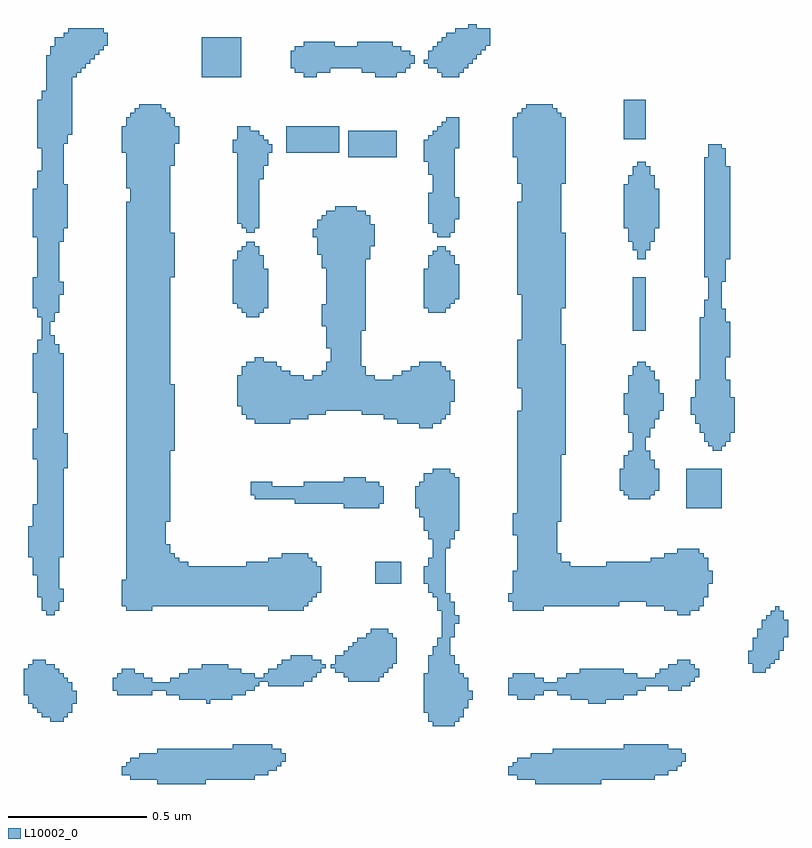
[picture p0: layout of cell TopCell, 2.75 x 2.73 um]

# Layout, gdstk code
import gdstk
lib = gdstk.Library(unit=1e-6, precision=1e-09)
def R(c, l, rs):  # rectangles x0, y0, x1, y1
    for r in rs: c.add(gdstk.rectangle(r[:2], r[2:], *l))
L10002_0 = (10002, 0)

topcell = lib.new_cell('TopCell')
R(topcell, L10002_0, [(1.2,0.448,1.375,0.575), (2.56,0.448,2.799,0.559), (1.104,0.464,1.2,0.543), (1.375,0.464,1.551,0.575), (2.496,0.464,2.56,0.543), (2.799,0.464,2.991,0.575), (1.072,0.48,1.104,0.511), (1.551,0.48,1.599,0.591), (2.464,0.48,2.496,0.511), (2.991,0.48,3.039,0.591), (1.599,0.496,1.615,0.591), (1.615,0.496,1.631,0.575), (3.039,0.496,3.071,0.575), (1.088,0.511,1.104,0.527), (2.48,0.511,2.496,0.527), (1.631,0.512,1.647,0.575), (3.071,0.512,3.087,0.575), (1.647,0.528,1.663,0.559), (3.087,0.528,3.103,0.559), (1.136,0.543,1.2,0.559), (2.544,0.543,2.56,0.559), (2.624,0.559,2.799,0.575), (1.472,0.575,1.551,0.591), (2.88,0.575,2.991,0.591), (2.192,0.656,2.255,0.943), (2.255,0.656,2.271,0.911), (0.816,0.672,0.831,0.879), (0.831,0.672,0.847,0.863), (0.847,0.672,0.863,0.847), (2.176,0.672,2.192,0.911), (2.271,0.672,2.287,0.879), (0.784,0.688,0.799,0.895), (0.799,0.688,0.816,0.879), (0.863,0.688,0.879,0.831), (2.287,0.688,2.303,0.847), (0.768,0.704,0.784,0.895), (0.879,0.704,0.895,0.815), (2.16,0.704,2.176,0.847), (0.752,0.72,0.768,0.895), (2.303,0.72,2.319,0.831), (0.736,0.736,0.752,0.879), (0.895,0.736,0.911,0.783), (1.376,0.736,1.391,0.879), (2.752,0.736,2.815,0.863), (1.28,0.752,1.376,0.847), (1.391,0.752,1.455,0.879), (1.455,0.752,1.471,0.863), (2.319,0.752,2.335,0.783), (2.496,0.752,2.559,0.847), (2.688,0.752,2.752,0.847), (2.815,0.752,2.879,0.863), (0.72,0.768,0.736,0.863), (1.056,0.768,1.151,0.847), (1.151,0.768,1.183,0.831), (1.232,0.768,1.28,0.815), (1.471,0.768,1.503,0.863), (1.503,0.768,1.519,0.847), (2.464,0.768,2.496,0.831), (2.559,0.768,2.591,0.831), (2.64,0.768,2.688,0.831), (2.879,0.768,2.927,0.847), (1.04,0.784,1.056,0.831), (1.183,0.784,1.232,0.815), (1.519,0.784,1.551,0.847), (2.591,0.784,2.64,0.815), (2.927,0.784,2.959,0.831), (3.04,0.784,3.087,0.879), (1.551,0.8,1.567,0.831), (1.6,0.8,1.727,0.863), (2.959,0.8,3.04,0.831), (3.087,0.8,3.119,0.895), (1.248,0.815,1.28,0.831), (1.567,0.816,1.6,0.831), (1.727,0.816,1.759,0.911), (1.888,0.816,1.999,0.943), (3.119,0.816,3.135,0.879), (1.584,0.831,1.6,0.847), (2.48,0.831,2.496,0.847), (2.672,0.831,2.688,0.847), (2.992,0.831,3.04,0.847), (1.759,0.832,1.775,0.895), (1.872,0.832,1.888,0.927), (1.999,0.832,2.015,1.007), (3.135,0.832,3.151,0.863), (1.072,0.847,1.119,0.863), (1.312,0.847,1.376,0.863), (2.72,0.847,2.752,0.863), (3.008,0.847,3.04,0.863), (1.775,0.848,1.791,0.895), (1.84,0.848,1.872,0.911), (2.015,0.848,2.031,1.007), (3.344,0.848,3.391,0.975), (1.36,0.863,1.376,0.879), (1.632,0.863,1.727,0.879), (1.791,0.864,1.807,0.879), (1.824,0.864,1.84,0.879), (2.031,0.864,2.047,0.991), (3.391,0.864,3.407,1.039), (1.648,0.879,1.727,0.895), (3.072,0.879,3.087,0.895), (2.047,0.88,2.063,0.975), (3.328,0.88,3.344,0.927), (3.407,0.88,3.423,1.055), (1.68,0.895,1.727,0.911), (3.423,0.896,3.439,1.071), (3.439,0.928,3.455,1.071), (1.904,0.943,1.999,0.959), (2.208,0.943,2.255,0.975), (1.92,0.959,1.999,0.975), (1.952,0.975,1.999,0.991), (2.224,0.975,2.239,1.583), (2.239,0.975,2.255,1.135), (3.36,0.975,3.391,1.007), (2.255,0.976,2.271,1.103), (3.455,0.976,3.471,1.039), (1.968,0.991,1.999,1.007), (3.376,1.007,3.391,1.039), (2.271,1.024,2.287,1.055), (3.392,1.039,3.407,1.055), (3.408,1.055,3.423,1.071), (0.8,1.056,0.815,3.071), (0.815,1.056,0.831,2.063), (3.072,1.056,3.119,1.295), (3.424,1.071,3.439,1.087), (0.784,1.072,0.8,2.943), (0.831,1.072,0.847,2.031), (1.088,1.072,1.183,2.543), (1.6,1.072,1.727,1.263), (2.208,1.072,2.224,1.583), (2.48,1.072,2.591,1.215), (3.024,1.072,3.072,1.279), (3.119,1.072,3.151,1.295), (1.072,1.088,1.088,1.183), (1.183,1.088,1.215,2.895), (1.215,1.088,1.231,2.879), (1.231,1.088,1.247,1.311), (1.247,1.088,1.263,1.279), (1.263,1.088,1.279,1.263), (1.279,1.088,1.311,1.247), (1.311,1.088,1.6,1.231), (1.727,1.088,1.743,1.279), (2.591,1.088,2.623,2.895), (2.623,1.088,2.639,2.879), (2.639,1.088,2.655,1.279), (2.655,1.088,2.687,1.247), (2.687,1.088,2.863,1.231), (2.96,1.088,3.024,1.247), (3.151,1.088,3.167,1.279), (0.847,1.104,0.863,1.151), (1.743,1.104,1.759,1.263), (2.464,1.104,2.48,1.135), (2.863,1.104,2.96,1.247), (0.768,1.12,0.784,2.047), (1.759,1.12,1.775,1.247), (2.192,1.12,2.208,1.583), (3.167,1.12,3.183,1.263), (1.775,1.136,1.791,1.231), (2.176,1.136,2.192,1.263), (1.984,1.168,2.079,1.247), (2.16,1.168,2.176,1.231), (3.183,1.168,3.199,1.215), (0.752,1.2,0.768,1.455), (2.496,1.215,2.591,1.791), (1.52,1.231,1.6,1.247), (2.816,1.231,2.863,1.247), (2.976,1.247,3.024,1.263), (1.648,1.263,1.727,1.279), (0.736,1.264,0.752,1.375), (0.847,1.264,0.863,1.999), (2.239,1.296,2.255,1.583), (2.176,1.328,2.192,1.567), (2.255,1.328,2.271,1.567), (2.48,1.344,2.496,1.423), (2.16,1.36,2.176,1.567), (2.271,1.36,2.287,1.551), (1.231,1.392,1.247,2.863), (2.639,1.392,2.655,2.863), (2.144,1.408,2.16,1.535), (1.872,1.44,1.951,1.551), (1.951,1.44,1.999,1.535), (2.128,1.44,2.144,1.519), (3.104,1.44,3.231,1.583), (1.696,1.456,1.872,1.519), (1.999,1.456,2.015,1.519), (1.552,1.472,1.615,1.535), (1.615,1.472,1.696,1.519), (2.896,1.472,2.975,1.647), (1.536,1.488,1.552,1.535), (2.88,1.488,2.896,1.631), (2.975,1.488,2.991,1.615), (2.864,1.504,2.88,1.583), (2.991,1.504,3.007,1.583), (1.728,1.519,1.872,1.535), (0.863,1.584,0.879,1.711), (0.752,1.616,0.768,1.727), (2.655,1.632,2.671,2.031), (2.912,1.647,2.959,1.951), (1.247,1.648,1.263,1.887), (3.2,1.648,3.231,2.751), (3.184,1.664,3.2,2.751), (3.231,1.664,3.247,2.159), (3.168,1.68,3.184,2.191), (3.247,1.68,3.263,1.903), (2.959,1.696,2.975,1.951), (2.896,1.712,2.912,1.919), (3.152,1.712,3.168,2.127), (3.263,1.712,3.279,1.839), (2.144,1.728,2.191,1.967), (2.975,1.728,2.991,1.935), (1.552,1.744,1.583,1.983), (1.583,1.744,1.631,1.967), (1.631,1.744,1.647,1.951), (1.647,1.744,1.679,1.935), (2.064,1.744,2.144,1.919), (2.191,1.744,2.223,1.967), (3.136,1.744,3.152,1.903), (1.52,1.76,1.552,1.967), (1.679,1.76,1.727,1.919), (1.727,1.76,1.743,1.903), (2.016,1.76,2.064,1.903), (2.223,1.76,2.239,1.951), (2.991,1.76,3.007,1.903), (1.504,1.776,1.52,1.951), (1.743,1.776,1.807,1.903), (1.936,1.776,1.951,1.951), (1.951,1.776,1.983,1.919), (1.983,1.776,2.016,1.903), (2.239,1.776,2.255,1.935), (2.88,1.776,2.896,1.855), (3.12,1.776,3.136,1.839), (2.512,1.791,2.591,2.879), (1.807,1.792,1.936,1.935), (3.007,1.792,3.023,1.855), (1.488,1.808,1.504,1.919), (2.255,1.824,2.271,1.903), (0.752,1.856,0.768,1.999), (2.496,1.872,2.512,2.047), (1.76,1.903,1.807,1.919), (2.048,1.903,2.064,1.919), (1.792,1.919,1.807,1.935), (2.08,1.919,2.144,1.935), (1.808,1.935,1.935,1.967), (1.935,1.935,1.936,1.951), (2.112,1.935,2.144,1.951), (2.928,1.951,2.959,1.967), (1.824,1.967,1.935,2.511), (3.247,1.984,3.263,2.111), (1.808,2.016,1.824,2.511), (1.935,2.08,1.951,2.511), (2.912,2.08,2.959,2.271), (1.792,2.096,1.808,2.175), (0.815,2.112,0.831,3.071), (0.768,2.128,0.784,2.655), (1.52,2.128,1.551,2.399), (1.551,2.128,1.567,2.383), (0.831,2.144,0.847,3.103), (1.504,2.144,1.52,2.383), (1.567,2.144,1.583,2.351), (2.176,2.144,2.239,2.351), (0.752,2.16,0.768,2.271), (1.488,2.16,1.504,2.367), (1.583,2.16,1.599,2.303), (2.16,2.16,2.176,2.303), (2.239,2.16,2.255,2.367), (2.655,2.16,2.671,2.431), (1.472,2.176,1.488,2.335), (2.255,2.176,2.271,2.351), (2.271,2.192,2.287,2.319), (0.847,2.208,0.863,2.255), (2.496,2.208,2.512,2.543), (3.231,2.256,3.247,2.735), (1.247,2.272,1.263,2.431), (3.168,2.272,3.184,2.703), (1.792,2.304,1.808,2.495), (1.951,2.336,1.967,2.495), (2.928,2.336,2.959,2.687), (3.247,2.336,3.263,2.671), (2.192,2.351,2.239,2.367), (1.776,2.352,1.792,2.479), (2.208,2.367,2.239,2.383), (2.912,2.368,2.928,2.671), (2.959,2.368,2.975,2.671), (1.967,2.384,1.983,2.463), (0.847,2.4,0.863,3.135), (2.896,2.4,2.912,2.639), (2.975,2.4,2.991,2.639), (0.752,2.416,0.768,2.591), (1.76,2.416,1.776,2.447), (2.208,2.416,2.255,2.815), (1.52,2.432,1.535,2.815), (1.535,2.432,1.551,2.799), (2.192,2.432,2.208,2.799), (2.255,2.432,2.271,2.847), (0.863,2.448,0.879,2.607), (1.504,2.448,1.52,2.815), (1.551,2.448,1.567,2.799), (2.88,2.448,2.896,2.607), (2.991,2.448,3.007,2.591), (1.488,2.464,1.504,2.815), (2.176,2.464,2.192,2.575), (2.271,2.48,2.287,2.559), (1.84,2.511,1.919,2.527), (1.104,2.543,1.183,2.863), (1.088,2.592,1.104,2.847), (2.496,2.608,2.512,2.863), (2.655,2.608,2.671,2.847), (1.567,2.624,1.583,2.783), (2.176,2.64,2.192,2.783), (1.247,2.672,1.263,2.847), (1.583,2.672,1.599,2.767), (2.16,2.688,2.176,2.767), (1.888,2.704,2.063,2.799), (2.48,2.704,2.496,2.847), (1.072,2.72,1.088,2.815), (1.472,2.72,1.488,2.767), (1.599,2.72,1.615,2.751), (1.664,2.72,1.855,2.815), (0.768,2.736,0.784,2.911), (2.271,2.736,2.287,2.847), (0.863,2.752,0.879,3.135), (1.263,2.752,1.279,2.815), (2.88,2.768,2.959,2.911), (0.879,2.784,0.895,3.151), (2.224,2.815,2.255,2.831), (2.24,2.831,2.255,2.847), (1.12,2.863,1.183,2.879), (1.136,2.879,1.183,2.895), (2.528,2.879,2.591,2.895), (0.895,2.992,0.911,3.167), (1.36,2.992,1.503,3.135), (1.728,2.992,1.775,3.119), (1.984,2.992,2.047,3.119), (2.047,2.992,2.063,3.103), (2.224,2.992,2.287,3.135), (0.911,3.008,0.927,3.167), (1.696,3.008,1.728,3.103), (1.775,3.008,1.823,3.119), (1.936,3.008,1.984,3.119), (2.063,3.008,2.079,3.103), (2.079,3.008,2.095,3.087), (2.208,3.008,2.224,3.119), (2.287,3.008,2.303,3.167), (0.927,3.024,0.943,3.167), (1.68,3.024,1.696,3.087), (1.823,3.024,1.839,3.119), (1.839,3.024,1.936,3.103), (2.095,3.024,2.111,3.087), (2.176,3.024,2.208,3.087), (2.303,3.024,2.319,3.167), (0.943,3.04,0.959,3.167), (2.111,3.04,2.127,3.071), (2.16,3.04,2.176,3.055), (2.319,3.04,2.335,3.167), (0.959,3.056,0.975,3.167), (2.335,3.056,2.351,3.183), (0.816,3.071,0.831,3.103), (0.975,3.072,0.991,3.167), (2.351,3.072,2.367,3.167), (2.192,3.087,2.208,3.103), (0.991,3.088,1.007,3.167), (2.367,3.088,2.383,3.167), (0.832,3.103,0.847,3.135), (1.92,3.103,1.936,3.119), (1.007,3.104,1.023,3.151), (2.383,3.104,2.399,3.167), (0.864,3.135,0.879,3.151), (2.24,3.135,2.287,3.151), (0.88,3.151,0.895,3.167), (2.272,3.151,2.287,3.167), (2.32,3.167,2.335,3.183)])

lib.write_gds('TopCell.gds')
